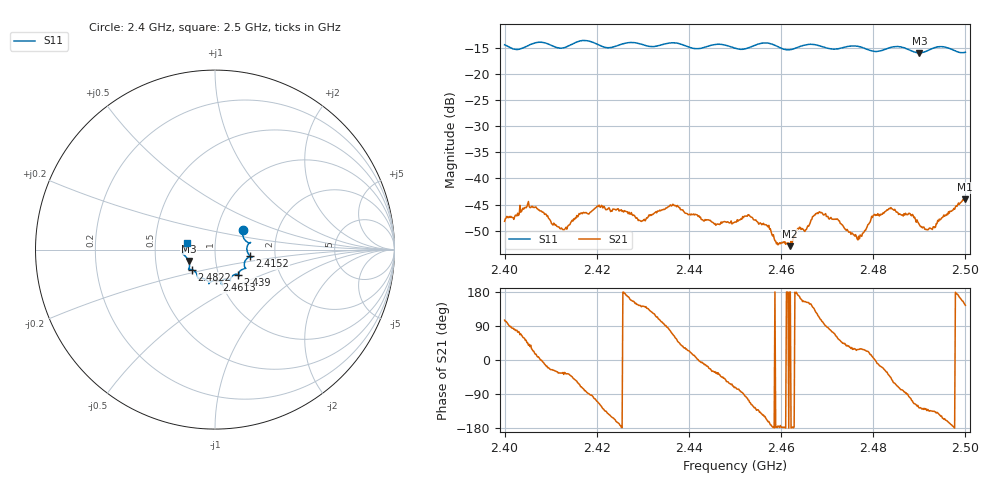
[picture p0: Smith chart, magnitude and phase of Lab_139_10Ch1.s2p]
# Hz S RI R 50
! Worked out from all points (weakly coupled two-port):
!   601 points, 2.4 GHz to 2.5 GHz, reference 50 ohm
!   highest |S21| = -43.96 dB at 2.4998 GHz (marker M1); lowest = -53.0 dB at 2.4618 GHz (marker M2)
!   lowest |S11| = -15.9 dB at 2.49 GHz (marker M3), VSWR 1.38, Z = 36.9 - j4.84 ohm
!   |S11| at or under -10 dB: start of sweep to end of sweep
!   S12 and S22 are empty: the file has one direction only
!   S11 on the Smith chart (normalised r, x): 2.4 GHz: 1.33, +0.31; 2.4152 GHz: 1.48, -0.11; 2.439 GHz: 1.24, -0.36; 2.4613 GHz: 0.96, -0.34; 2.4822 GHz: 0.76, -0.17; 2.5 GHz: 0.73, +0.05
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2.4e9  0.1553 0.1115  -0.00102 0.00375  0 0  0 0
2.4055e9  0.1874 0.0385  0.00429 0.00304  0 0  0 0
2.4125e9  0.1778 -0.00147  0.00271 -0.00185  0 0  0 0
2.415167e9  0.1953 -0.0361  0.00252 -0.00315  0 0  0 0
2.416667e9  0.205 -0.0421  0.00154 -0.00441  0 0  0 0
2.420667e9  0.1825 -0.0462  -0.00246 -0.00475  0 0  0 0
2.4295e9  0.1632 -0.1065  -0.00315 0.00234  0 0  0 0
2.433333e9  0.1324 -0.1324  -0.00157 0.00461  0 0  0 0
2.439e9  0.1279 -0.1388  0.00404 0.0025  0 0  0 0
2.45e9  0.0689 -0.1634  0.00118 -0.00365  0 0  0 0
2.453333e9  0.0372 -0.1779  -0.00167 -0.00398  0 0  0 0
2.461333e9  0.00751 -0.171  -0.00239 3.28e-05  0 0  0 0
2.461833e9  -6.35e-05 -0.1713  -0.00224 4.32e-05  0 0  0 0
2.466667e9  -0.0338 -0.1902  -0.00324 0.00242  0 0  0 0
2.469167e9  -0.037 -0.1782  -0.000607 0.00444  0 0  0 0
2.477e9  -0.0954 -0.1567  0.00233 0.00125  0 0  0 0
2.482167e9  -0.1284 -0.1118  0.00438 -0.00173  0 0  0 0
2.483333e9  -0.1395 -0.1101  0.00395 -0.00325  0 0  0 0
2.49e9  -0.1467 -0.0638  -0.00216 -0.00289  0 0  0 0
2.493e9  -0.1752 -0.0279  -0.00246 -0.0024  0 0  0 0
2.499833e9  -0.1583 0.031  -0.00533 0.00343  0 0  0 0
2.5e9  -0.1582 0.0342  -0.0051 0.00367  0 0  0 0
